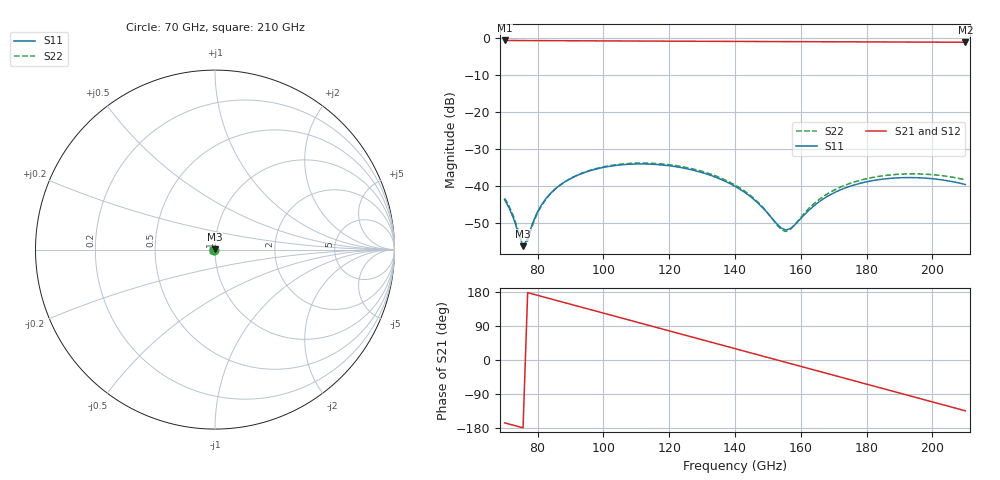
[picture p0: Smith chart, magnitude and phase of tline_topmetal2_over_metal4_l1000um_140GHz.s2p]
#  GHZ S DB R 50
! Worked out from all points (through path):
!   101 points, 70 GHz to 210 GHz, reference 50 ohm
!   highest |S21| = -0.78 dB at 70 GHz (marker M1); lowest = -1.3 dB at 210 GHz (marker M2)
!   group delay of S21, straight-line fit = 6.51 ps
!   lowest |S11| = -56.2 dB at 75.6 GHz (marker M3), VSWR 1.00, Z = 50 + j0.149 ohm
!   |S11| at or under -10 dB: start of sweep to end of sweep
!   |S22| runs from -56.1 to -33.8 dB; largest |S21 - S12| = 1.1e-14
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70  -43.68 -172.2  -0.78 -165.9  -0.78 -165.9  -43.29 -171.6
72.8  -48.95 168.8  -0.79 -172.4  -0.79 -172.4  -48.39 170.6
75.6  -56.23 104.8  -0.80 -179.0  -0.80 -179.0  -56.11 112.9
77  -54.12 54.3  -0.81 177.7  -0.81 177.7  -54.78 58.4
79.8  -47.33 17.0  -0.82 171.1  -0.82 171.1  -47.64 17.0
82.6  -43.37 1.9  -0.83 164.6  -0.83 164.6  -43.49 1.6
86.8  -39.80 -13.4  -0.85 154.7  -0.85 154.7  -39.81 -13.9
93.8  -36.54 -34.4  -0.87 138.3  -0.87 138.3  -36.44 -34.8
106.4  -34.23 -69.4  -0.92 108.8  -0.92 108.8  -34.04 -69.6
117.6  -34.32 -100.2  -0.96 82.5  -0.96 82.5  -34.06 -100.3
128.8  -36.10 -132.3  -1.00 56.3  -1.00 56.3  -35.77 -131.9
140  -40.09 -168.1  -1.04 30.0  -1.04 30.0  -39.75 -167.0
145.6  -43.54 169.1  -1.06 16.9  -1.06 16.9  -43.25 170.9
154  -51.32 98.8  -1.08 -2.8  -1.08 -2.8  -51.72 99.4
155.4  -51.86 76.8  -1.09 -6.1  -1.09 -6.1  -52.28 75.1
158.2  -50.46 35.5  -1.10 -12.7  -1.10 -12.7  -50.42 31.4
163.8  -45.48 -9.7  -1.12 -25.8  -1.12 -25.8  -44.92 -12.4
173.6  -40.51 -50.3  -1.15 -48.7  -1.15 -48.7  -39.75 -51.1
180.6  -38.77 -73.5  -1.17 -65.2  -1.17 -65.2  -37.93 -73.4
187.6  -37.92 -95.5  -1.19 -81.6  -1.19 -81.6  -36.99 -94.6
198.8  -37.96 -130.5  -1.22 -107.8  -1.22 -107.8  -36.88 -128.1
210  -39.61 -167.5  -1.25 -134.1  -1.25 -134.1  -38.35 -162.7
